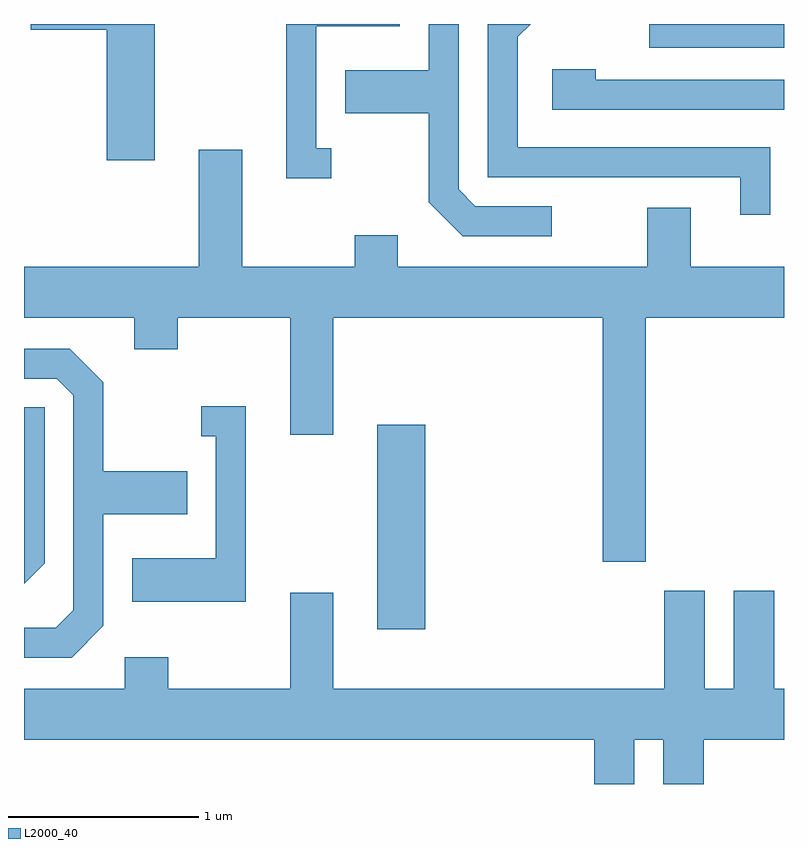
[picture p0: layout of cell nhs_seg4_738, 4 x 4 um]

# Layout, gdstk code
import gdstk
lib = gdstk.Library(unit=1e-6, precision=1e-09)
def R(c, l, rs):  # rectangles x0, y0, x1, y1
    for r in rs: c.add(gdstk.rectangle(r[:2], r[2:], *l))
def P(c, l, *ps):  # polygons
    for p in ps: c.add(gdstk.Polygon(p, *l))
L2000_40 = (2000, 40)

nhs_seg4_738 = lib.new_cell('nhs_seg4_738')
R(nhs_seg4_738, L2000_40, [(207.471,1370.796,207.724,1371.874), (208.903,1373.856,209.611,1373.982)])
P(nhs_seg4_738, L2000_40, [(209.539,1373.334),(208.209,1373.334),(208.209,1373.914),(208.278,1373.982),(208.051,1373.982),(208.051,1373.176),(209.381,1373.176),(209.381,1372.978),(209.539,1372.978)],
  [(208.388,1373.024),(207.987,1373.024),(207.899,1373.112),(207.899,1373.982),(207.741,1373.982),(207.741,1373.739),(207.301,1373.739),(207.301,1373.511),(207.741,1373.511),(207.741,1373.044),(207.919,1372.866),(208.388,1372.866)],
  [(207.228,1373.329),(207.149,1373.329),(207.149,1373.971),(207.589,1373.971),(207.589,1373.982),(206.991,1373.982),(206.991,1373.171),(207.228,1373.171)],
  [(206.299,1373.982),(205.646,1373.982),(205.646,1373.951),(206.046,1373.951),(206.046,1373.266),(206.299,1373.266)],
  [(209.611,1373.689),(208.619,1373.689),(208.619,1373.744),(208.391,1373.744),(208.391,1373.531),(209.611,1373.531)],
  [(208.884,1372.436),(209.611,1372.436),(209.611,1372.704),(209.119,1372.704),(209.119,1373.014),(208.891,1373.014),(208.891,1372.704),(207.579,1372.704),(207.579,1372.869),(207.351,1372.869),(207.351,1372.704),(206.759,1372.704),(206.759,1373.319),(206.531,1373.319),(206.531,1372.704),(205.611,1372.704),(205.611,1372.436),(206.191,1372.436),(206.191,1372.271),(206.419,1372.271),(206.419,1372.436),(207.011,1372.436),(207.011,1371.821),(207.239,1371.821),(207.239,1372.436),(208.656,1372.436),(208.656,1371.151),(208.884,1371.151)],
  [(206.029,1370.814),(206.029,1371.401),(206.469,1371.401),(206.469,1371.629),(206.029,1371.629),(206.029,1372.097),(205.852,1372.274),(205.611,1372.274),(205.611,1372.116),(205.784,1372.116),(205.871,1372.029),(205.871,1370.897),(205.779,1370.804),(205.611,1370.804),(205.611,1370.646),(205.862,1370.646)],
  [(206.779,1371.969),(206.543,1371.969),(206.543,1371.811),(206.621,1371.811),(206.621,1371.169),(206.181,1371.169),(206.181,1370.941),(206.779,1370.941)],
  [(205.719,1371.144),(205.719,1371.964),(205.611,1371.964),(205.611,1371.035)],
  [(208.824,1370.216),(208.976,1370.216),(208.976,1369.982),(209.189,1369.982),(209.189,1370.216),(209.611,1370.216),(209.611,1370.484),(209.559,1370.484),(209.559,1370.999),(209.346,1370.999),(209.346,1370.484),(209.194,1370.484),(209.194,1370.999),(208.981,1370.999),(208.981,1370.484),(207.239,1370.484),(207.239,1370.989),(207.011,1370.989),(207.011,1370.484),(206.369,1370.484),(206.369,1370.649),(206.141,1370.649),(206.141,1370.484),(205.611,1370.484),(205.611,1370.216),(208.611,1370.216),(208.611,1369.982),(208.824,1369.982)])

lib.write_gds('nhs_seg4_738.gds')
